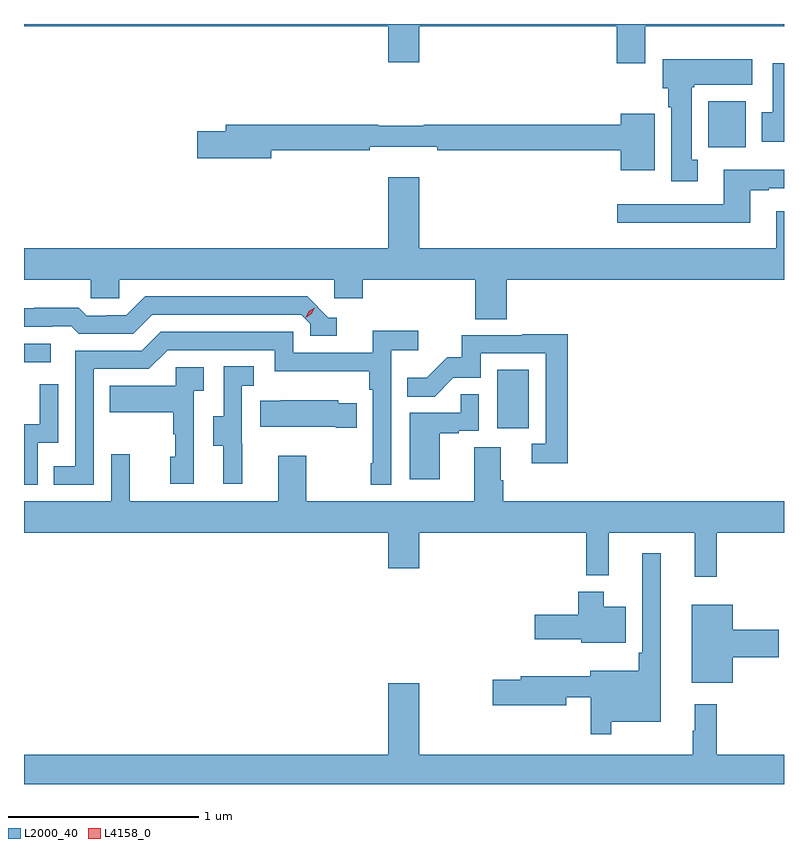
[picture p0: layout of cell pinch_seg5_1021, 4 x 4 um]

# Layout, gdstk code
import gdstk
lib = gdstk.Library(unit=1e-6, precision=1e-09)
def R(c, l, rs):  # rectangles x0, y0, x1, y1
    for r in rs: c.add(gdstk.rectangle(r[:2], r[2:], *l))
def P(c, l, *ps):  # polygons
    for p in ps: c.add(gdstk.Polygon(p, *l))
L2000_40 = (2000, 40)
L4158_0 = (4158, 0)

pinch_seg5_1021 = lib.new_cell('pinch_seg5_1021')
R(pinch_seg5_1021, L2000_40, [(884.864,854.646,885.028,854.953), (882.372,854.994,882.514,855.09), (885.974,856.124,886.171,856.366)])
P(pinch_seg5_1021, L2000_40, [(882.372,856.76),(884.288,856.76),(884.288,856.572),(884.452,856.572),(884.452,856.76),(885.491,856.76),(885.491,856.566),(885.643,856.566),(885.643,856.76),(886.372,856.76),(886.372,856.773),(882.372,856.773)],
  [(885.919,856.058),(885.886,856.058),(885.886,856.441),(885.9,856.441),(885.9,856.454),(886.204,856.454),(886.204,856.588),(885.734,856.588),(885.734,856.434),(885.764,856.434),(885.764,856.334),(885.779,856.334),(885.779,855.945),(885.919,855.945)],
  [(886.372,856.567),(886.313,856.567),(886.313,856.308),(886.256,856.308),(886.256,856.152),(886.372,856.152)],
  [(885.691,856.3),(885.512,856.3),(885.512,856.244),(884.477,856.244),(884.477,856.237),(884.237,856.237),(884.237,856.244),(883.433,856.244),(883.433,856.208),(883.284,856.208),(883.284,856.066),(883.672,856.066),(883.672,856.108),(884.192,856.108),(884.192,856.127),(884.548,856.127),(884.548,856.108),(885.512,856.108),(885.512,856.004),(885.691,856.004)],
  [(886.195,855.897),(886.291,855.897),(886.291,855.909),(886.372,855.909),(886.372,856.006),(886.055,856.006),(886.055,855.825),(885.495,855.825),(885.495,855.728),(886.195,855.728)],
  [(884.912,855.428),(886.372,855.428),(886.372,855.787),(886.331,855.787),(886.331,855.592),(884.452,855.592),(884.452,855.967),(884.288,855.967),(884.288,855.592),(882.372,855.592),(882.372,855.428),(882.723,855.428),(882.723,855.33),(882.873,855.33),(882.873,855.428),(884.004,855.428),(884.004,855.33),(884.156,855.33),(884.156,855.428),(884.747,855.428),(884.747,855.22),(884.912,855.22)],
  [(884.017,855.228),(883.974,855.228),(883.863,855.339),(883.01,855.339),(882.911,855.24),(882.804,855.24),(882.804,855.237),(882.701,855.237),(882.659,855.28),(882.426,855.28),(882.426,855.277),(882.372,855.277),(882.372,855.18),(882.521,855.18),(882.521,855.183),(882.62,855.183),(882.659,855.144),(882.948,855.144),(883.047,855.243),(883.83,855.243),(883.878,855.195),(883.878,855.132),(884.017,855.132)],
  [(882.738,854.958),(883.029,854.958),(883.128,855.057),(883.692,855.057),(883.692,854.945),(884.188,854.945),(884.188,854.849),(884.208,854.849),(884.208,854.461),(884.196,854.461),(884.196,854.349),(884.304,854.349),(884.304,855.056),(884.446,855.056),(884.446,855.158),(884.207,855.158),(884.207,855.042),(883.788,855.042),(883.788,855.153),(883.091,855.153),(882.992,855.054),(882.642,855.054),(882.642,854.445),(882.529,854.445),(882.529,854.349),(882.738,854.349)],
  [(885.233,855.14),(884.995,855.14),(884.995,855.135),(884.677,855.135),(884.677,855.018),(884.6,855.018),(884.493,854.911),(884.389,854.911),(884.389,854.812),(884.533,854.812),(884.631,854.91),(884.775,854.91),(884.775,855.039),(885.117,855.039),(885.117,854.565),(885.045,854.565),(885.045,854.46),(885.233,854.46)],
  [(883.52,854.565),(883.518,854.565),(883.518,854.869),(883.582,854.869),(883.582,854.972),(883.422,854.972),(883.422,854.709),(883.367,854.709),(883.367,854.554),(883.421,854.554),(883.421,854.352),(883.52,854.352)],
  [(883.266,854.843),(883.318,854.843),(883.318,854.967),(883.17,854.967),(883.17,854.869),(882.823,854.869),(882.823,854.729),(883.158,854.729),(883.158,854.615),(883.168,854.615),(883.168,854.496),(883.142,854.496),(883.142,854.352),(883.266,854.352)],
  [(882.444,854.568),(882.552,854.568),(882.552,854.878),(882.456,854.878),(882.456,854.666),(882.372,854.666),(882.372,854.349),(882.444,854.349)],
  [(884.56,854.619),(884.66,854.619),(884.66,854.631),(884.766,854.631),(884.766,854.825),(884.671,854.825),(884.671,854.727),(884.402,854.727),(884.402,854.376),(884.56,854.376)],
  [(884.123,854.776),(884.025,854.776),(884.025,854.794),(883.723,854.794),(883.723,854.791),(883.615,854.791),(883.615,854.654),(884.012,854.654),(884.012,854.647),(884.123,854.647)],
  [(886.019,854.096),(886.372,854.096),(886.372,854.26),(884.894,854.26),(884.894,854.372),(884.881,854.372),(884.881,854.546),(884.741,854.546),(884.741,854.26),(883.857,854.26),(883.857,854.5),(883.709,854.5),(883.709,854.26),(882.929,854.26),(882.929,854.509),(882.831,854.509),(882.831,854.26),(882.372,854.26),(882.372,854.096),(884.288,854.096),(884.288,853.908),(884.452,853.908),(884.452,854.096),(885.331,854.096),(885.331,853.871),(885.449,853.871),(885.449,854.096),(885.902,854.096),(885.902,853.863),(886.019,853.863)],
  [(885.463,853.1),(885.724,853.1),(885.724,853.987),(885.627,853.987),(885.627,853.465),(885.607,853.465),(885.607,853.369),(885.353,853.369),(885.353,853.34),(884.987,853.34),(884.987,853.322),(884.838,853.322),(884.838,853.187),(885.226,853.187),(885.226,853.23),(885.354,853.23),(885.354,853.035),(885.463,853.035)],
  [(885.538,853.705),(885.424,853.705),(885.424,853.786),(885.29,853.786),(885.29,853.665),(885.06,853.665),(885.06,853.535),(885.306,853.535),(885.306,853.517),(885.538,853.517)],
  [(886.102,853.439),(886.345,853.439),(886.345,853.586),(886.102,853.586),(886.102,853.717),(885.887,853.717),(885.887,853.307),(886.102,853.307)],
  [(886.372,852.928),(886.019,852.928),(886.019,853.192),(885.902,853.192),(885.902,853.052),(885.891,853.052),(885.891,852.928),(884.452,852.928),(884.452,853.303),(884.288,853.303),(884.288,852.928),(882.372,852.928),(882.372,852.773),(886.372,852.773)])
P(pinch_seg5_1021, L4158_0, [(883.855,855.228),(883.855,855.228),(883.871,855.261),(883.902,855.28),(883.902,855.28),(883.902,855.28),(883.886,855.247),(883.856,855.228)])

lib.write_gds('pinch_seg5_1021.gds')
